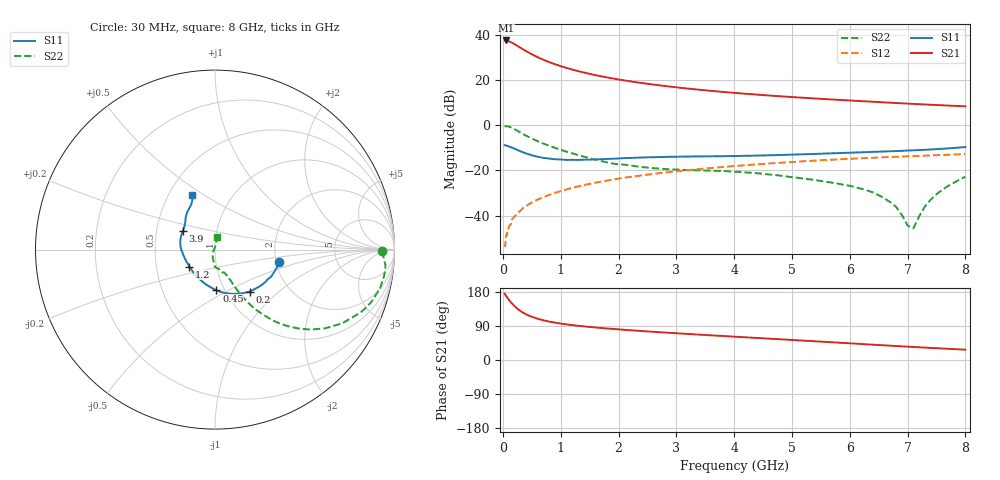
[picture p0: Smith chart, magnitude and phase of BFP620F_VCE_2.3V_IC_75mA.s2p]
! Infineon Technologies  Discrete & RF Semiconductors
! BFP620F
! VCE =  2.3 V,  IC =  75 mA
! Common Emitter S-Parameters:  Dec 2014
# GHz  S  MA  R  50
!  f  S11  S21  S12  S22
! GHz  MAG  ANG  MAG  ANG  MAG  ANG  MAG  ANG
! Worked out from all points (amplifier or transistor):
!   95 points, 30 MHz to 8 GHz, reference 50 ohm
!   highest |S21| = 37.6 dB at 50 MHz (marker M1)
!   |S21| within 3 dB of that: start of sweep to 289.4 MHz
!   unconditionally stable (mu >= 1): 1.62 GHz to end of sweep
!   at 300 MHz: K = 0.57, MSG = 36.2 dB, |S12| = -37.9 dB
!   at 3.3 GHz: K = 1.04, MAG = 16.6 dB, |S12| = -19.6 dB
!   at 8 GHz: K = 1.05, MAG = 9.1 dB, |S12| = -12.8 dB
!   S11 on the Smith chart (normalised r, x): 30 MHz: 2.07, -0.32; 200 MHz: 1.29, -0.66; 450 MHz: 0.92, -0.44; 1.2 GHz: 0.74, -0.14; 3.9 GHz: 0.68, +0.15; 8 GHz: 0.66, +0.45
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0.03  0.3607 -10.7  75.26 175.0  0.0023 104.9  0.9322 -0.6
0.05  0.3588 -16.0  75.5 170.5  0.0032 80.6  0.953 -5.1
0.08  0.349 -23.5  74.39 163.8  0.0049 79.2  0.9476 -11.3
0.12  0.3327 -33.1  70.89 155.7  0.0061 77.2  0.9186 -18.5
0.15  0.3221 -39.8  68.11 150.3  0.008 78.9  0.8841 -23.3
0.2  0.3036 -50.3  62.64 142.3  0.0094 78.0  0.8192 -30.1
0.25  0.2848 -59.3  57.4 135.4  0.0113 77.4  0.7547 -35.5
0.3  0.267 -67.5  52.43 129.7  0.0127 74.0  0.6934 -40.0
0.35  0.2515 -75.3  47.87 124.8  0.0148 74.9  0.6382 -43.5
0.45  0.2274 -88.0  40.45 117.1  0.0179 74.3  0.5472 -48.8
0.6  0.2008 -104.5  32.23 108.9  0.0225 74.0  0.4442 -53.9
0.7  0.1896 -113.3  28.25 104.8  0.0256 73.8  0.3933 -56.3
0.9  0.1766 -128.7  22.49 98.6  0.0318 73.9  0.3162 -59.3
1.2  0.1715 -146.6  17.1 92.1  0.0411 72.6  0.2395 -61.8
1.4  0.1726 -156.0  14.71 88.8  0.0472 72.0  0.2021 -63.0
1.9  0.1813 -173.6  10.88 82.1  0.0624 69.7  0.1421 -67.2
2.7  0.1976 168.5  7.684 73.5  0.0866 65.3  0.1098 -79.5
3.9  0.2078 149.6  5.352 62.5  0.122 57.8  0.0956 -89.9
4.1  0.2094 147.0  5.097 60.7  0.1275 56.6  0.0924 -90.7
5.4  0.2323 135.1  3.919 49.3  0.1647 47.9  0.0612 -98.6
6.7  0.2654 124.1  3.16 37.8  0.198 38.6  0.0198 -124.3
8  0.3287 112.7  2.623 27.2  0.2295 29.8  0.0723 79.6
